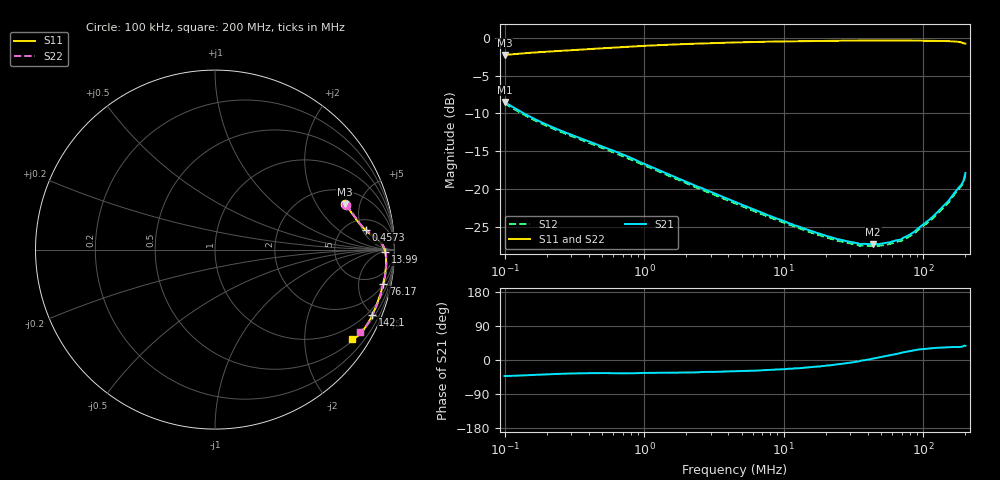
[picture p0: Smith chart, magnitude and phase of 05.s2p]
#  HZ  S  RI  R  50.00
! Rohde & Schwarz Vector Network Analyzer
! Rohde-Schwarz,ZNLE6-2Port,1323001256200024,1.71.1.10-23.02.1.238
! Created: UTC 4/8/2025, 6:08:42 AM
! freq[Hz]  re:S11  im:S11  re:S21  im:S21  re:S12  im:S12  re:S22  im:S22
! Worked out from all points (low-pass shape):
!   1001 points, 100 kHz to 200 MHz, reference 50 ohm
!   highest |S21| = -8.49 dB at 100 kHz (marker M1); lowest = -27.3 dB at 43.73 MHz (marker M2)
!   |S21| within 3 dB of the highest: start of sweep to 201.2 kHz
!   lowest |S11| = -2.3 dB at 100 kHz (marker M3), VSWR 7.58, Z = 148 + j181 ohm
!   |S11| at or under -10 dB: nowhere
!   |S22| runs from -2.2 to -0.4 dB; largest |S21 - S12| = 0.0076
!   S11 on the Smith chart (normalised r, x): 100 kHz: 2.95, +3.61; 457.3 kHz: 7.44, +5.78; 13.99 MHz: 36, -10; 76.17 MHz: 2.11, -9.48; 142.1 MHz: 0.68, -4.94; 200 MHz: 0.55, -3.28
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100000  0.7243 0.2521  0.278 -0.2533  0.271 -0.2503  0.7313 0.2489
134505.5  0.7592 0.2076  0.2426 -0.2088  0.2366 -0.2059  0.7652 0.2046
183688.7  0.7852 0.1708  0.2165 -0.172  0.2116 -0.1696  0.7901 0.1683
355854.1  0.8247 0.1224  0.1766 -0.1237  0.1726 -0.1217  0.8288 0.1205
457305.1  0.8387 0.1104  0.1627 -0.112  0.1591 -0.1101  0.8423 0.1086
727057.6  0.863 0.0881  0.1371 -0.0965  0.1345 -0.0922  0.8666 0.09
1266322  0.8892 0.071  0.1113 -0.0748  0.1088 -0.0734  0.8917 0.0699
4472136  0.9289 0.0303  0.0718 -0.041  0.0695 -0.0411  0.931 0.0321
1.398523e7  0.9489 -0.0134  0.0516 -0.0189  0.05 -0.0205  0.9499 -0.00962
1.591428e7  0.9498 -0.0194  0.0502 -0.0171  0.0486 -0.0173  0.9513 -0.0159
2.750814e7  0.9533 -0.0555  0.0453 -0.00711  0.044 -0.00728  0.9549 -0.0498
3.535047e7  0.9528 -0.0787  0.0435 -0.00164  0.0423 -0.00289  0.9548 -0.0705
4.373448e7  0.952 -0.1029  0.0432 0.00289  0.0424 0.00121  0.9541 -0.0925
5.663162e7  0.9476 -0.1382  0.0437 0.00936  0.0427 0.00808  0.951 -0.1254
6.796475e7  0.9422 -0.1695  0.0443 0.0144  0.0439 0.0124  0.9465 -0.1538
7.617267e7  0.9375 -0.1904  0.0456 0.0183  0.0448 0.0167  0.9427 -0.1737
8.537184e7  0.9313 -0.2145  0.0471 0.0225  0.0464 0.0208  0.9377 -0.1961
1.105477e8  0.9103 -0.2783  0.0543 0.032  0.0535 0.0302  0.9215 -0.2557
1.420639e8  0.8771 -0.3628  0.0662 0.0431  0.0651 0.0409  0.8925 -0.3317
1.679215e8  0.8379 -0.4323  0.0789 0.0536  0.078 0.051  0.863 -0.3931
1.853616e8  0.7995 -0.4779  0.0877 0.0602  0.0867 0.0576  0.8351 -0.4346
2e8  0.7643 -0.4979  0.1018 0.0778  0.1004 0.0749  0.8104 -0.4596
